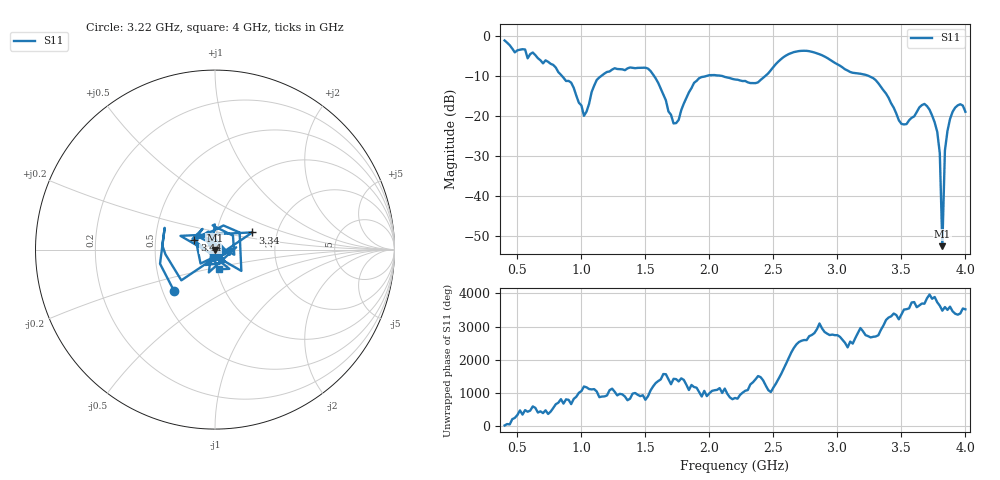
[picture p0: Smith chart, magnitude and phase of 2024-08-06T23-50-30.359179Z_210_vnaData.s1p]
!Created with skrf (http://scikit-rf.org).
# Hz S RI R 50.0
!freq ReS11 ImS11
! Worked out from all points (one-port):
!   181 points, 400 MHz to 4 GHz, reference 50 ohm
!   lowest |S11| = -52.6 dB at 3.82 GHz (marker M1), VSWR 1.00, Z = 49.9 - j0.203 ohm
!   |S11| at or under -10 dB: 1.566 GHz to 1.985 GHz (419.1 MHz wide, 23.6 % of centre); 2.085 GHz to 2.44 GHz (354.6 MHz wide, 15.7 % of centre); 3.24 GHz to end of sweep (the widest 3 of 4)
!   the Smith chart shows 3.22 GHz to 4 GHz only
!   S11 on the Smith chart (normalised r, x): 3.22 GHz: 0.57, -0.29; 3.34 GHz: 1.49, +0.30; 3.44 GHz: 0.79, +0.08; 4 GHz: 1.02, -0.23
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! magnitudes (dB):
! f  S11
! 400 MHz  -1.2
! 860 MHz  -10.5
! 920 MHz  -11.7
! 1.02 GHz  -20.0
! 1.12 GHz  -11.1
! 1.3 GHz  -8.4
! 1.52 GHz  -8.2
! 1.6 GHz  -11.8
! 1.72 GHz  -21.9
! 1.76 GHz  -21.1
! 1.92 GHz  -10.6
! 2.2 GHz  -11.0
! 2.38 GHz  -11.7
! 2.66 GHz  -4.1
! 3.1 GHz  -9.1
! 3.22 GHz  -9.8
! 3.34 GHz  -12.8
! 3.44 GHz  -18.0
! 3.5 GHz  -22.0
! 3.56 GHz  -21.2
! 3.68 GHz  -17.1
! 3.78 GHz  -24.0
! 3.8 GHz  -29.4
! 3.82 GHz  -52.6
! 3.84 GHz  -28.7
! 3.86 GHz  -23.8
! 3.92 GHz  -18.0
! 4 GHz  -19.0
